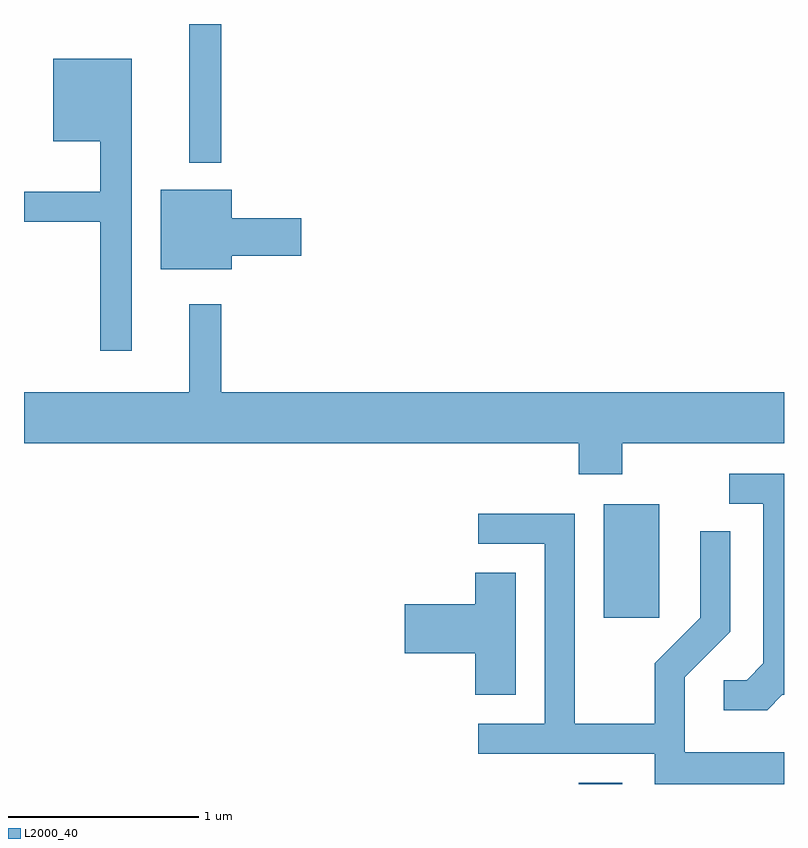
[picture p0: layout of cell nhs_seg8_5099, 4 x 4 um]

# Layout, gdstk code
import gdstk
lib = gdstk.Library(unit=1e-6, precision=1e-09)
def R(c, l, rs):  # rectangles x0, y0, x1, y1
    for r in rs: c.add(gdstk.rectangle(r[:2], r[2:], *l))
def P(c, l, *ps):  # polygons
    for p in ps: c.add(gdstk.Polygon(p, *l))
L2000_40 = (2000, 40)

nhs_seg8_5099 = lib.new_cell('nhs_seg8_5099')
R(nhs_seg8_5099, L2000_40, [(340.531,1892.342,340.759,1892.349), (340.661,1893.216,340.954,1893.814), (338.481,1895.613,338.649,1896.342)])
P(nhs_seg8_5099, L2000_40, [(338.179,1896.159),(337.766,1896.159),(337.766,1895.726),(338.011,1895.726),(338.011,1895.459),(337.611,1895.459),(337.611,1895.301),(338.011,1895.301),(338.011,1894.623),(338.179,1894.623)],
  [(338.704,1895.121),(339.069,1895.121),(339.069,1895.319),(338.704,1895.319),(338.704,1895.469),(338.331,1895.469),(338.331,1895.051),(338.704,1895.051)],
  [(340.759,1894.136),(341.611,1894.136),(341.611,1894.404),(338.649,1894.404),(338.649,1894.868),(338.481,1894.868),(338.481,1894.404),(337.611,1894.404),(337.611,1894.136),(340.531,1894.136),(340.531,1893.971),(340.759,1893.971)],
  [(341.602,1892.811),(341.611,1892.811),(341.611,1893.974),(341.323,1893.974),(341.323,1893.816),(341.501,1893.816),(341.501,1892.977),(341.414,1892.889),(341.293,1892.889),(341.293,1892.731),(341.522,1892.731)],
  [(341.611,1892.509),(341.089,1892.509),(341.089,1892.904),(341.329,1893.144),(341.329,1893.673),(341.171,1893.673),(341.171,1893.217),(340.931,1892.977),(340.931,1892.659),(340.509,1892.659),(340.509,1893.764),(340.003,1893.764),(340.003,1893.606),(340.351,1893.606),(340.351,1892.659),(340.003,1892.659),(340.003,1892.501),(340.931,1892.501),(340.931,1892.342),(341.611,1892.342)],
  [(340.199,1893.454),(339.986,1893.454),(339.986,1893.289),(339.616,1893.289),(339.616,1893.031),(339.986,1893.031),(339.986,1892.811),(340.199,1892.811)])

lib.write_gds('nhs_seg8_5099.gds')
